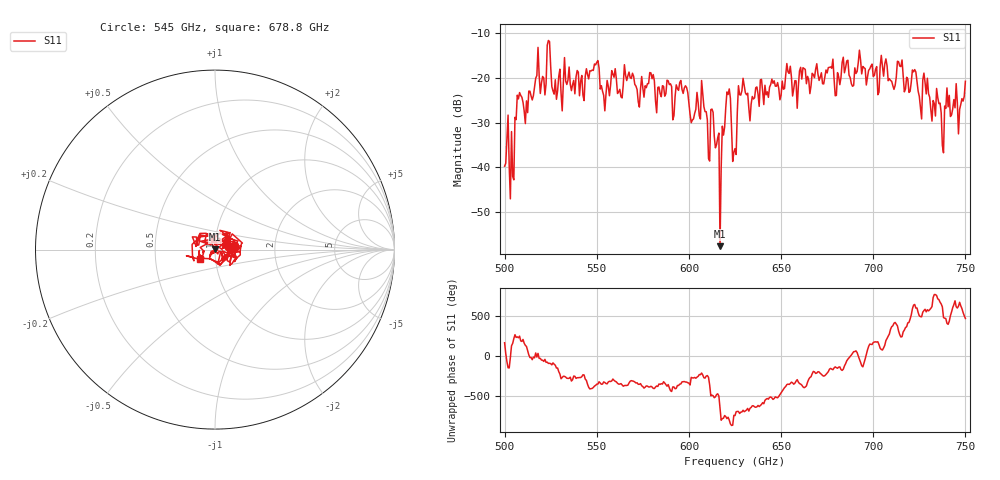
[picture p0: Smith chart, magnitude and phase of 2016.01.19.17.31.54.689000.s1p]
!Created with skrf (http://scikit-rf.org).
# GHz S RI R 50.0
!freq ReS11 ImS11
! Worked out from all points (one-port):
!   401 points, 500 GHz to 750 GHz, reference 50 ohm
!   lowest |S11| = -57.7 dB at 616.9 GHz (marker M1), VSWR 1.00, Z = 50 + j0.122 ohm
!   |S11| at or under -10 dB: start of sweep to end of sweep
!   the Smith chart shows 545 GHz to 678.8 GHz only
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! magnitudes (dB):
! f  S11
! 500 GHz  -39.7
! 503.8 GHz  -32.0
! 508.1 GHz  -23.2
! 511.2 GHz  -30.2
! 523.8 GHz  -11.6
! 526.9 GHz  -23.6
! 531.2 GHz  -27.4
! 550 GHz  -16.5
! 553.1 GHz  -22.9
! 559.4 GHz  -19.8
! 562.5 GHz  -22.5
! 566.2 GHz  -20.6
! 593.8 GHz  -22.3
! 601.9 GHz  -29.4
! 608.1 GHz  -26.4
! 616.9 GHz  -57.7
! 621.2 GHz  -23.7
! 625 GHz  -35.8
! 628.1 GHz  -23.8
! 656.2 GHz  -24.0
! 687.5 GHz  -19.9
! 705.6 GHz  -19.6
! 710.6 GHz  -21.7
! 714.4 GHz  -17.3
! 718.8 GHz  -20.2
! 728.1 GHz  -21.0
! 738.1 GHz  -36.7
! 750 GHz  -20.7
